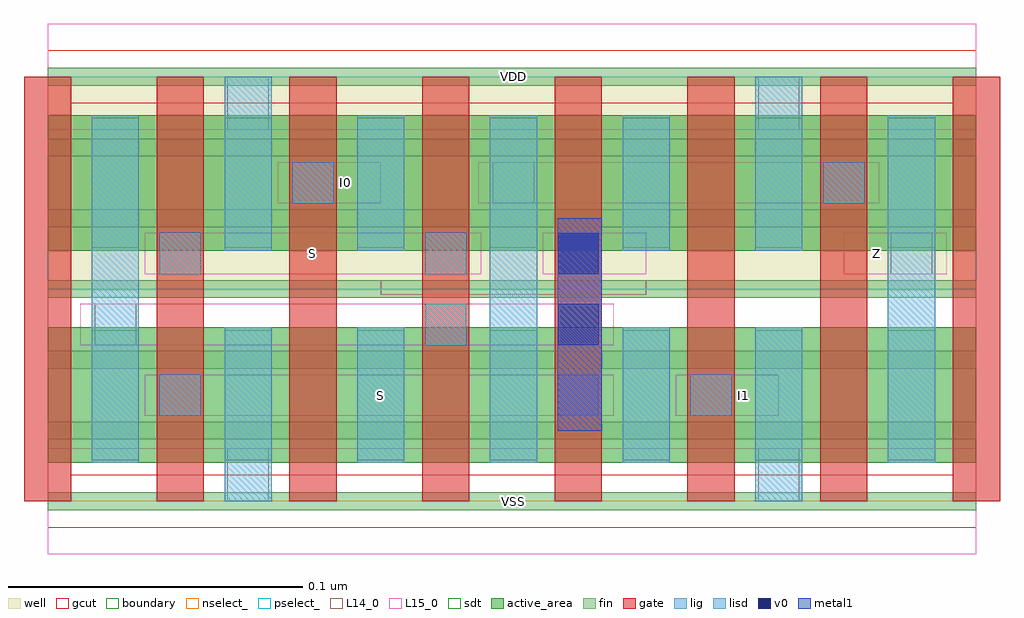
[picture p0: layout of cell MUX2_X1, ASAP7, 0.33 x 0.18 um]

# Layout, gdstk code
import gdstk
lib = gdstk.Library(unit=1e-6, precision=1e-09)
def R(c, l, rs):  # rectangles x0, y0, x1, y1
    for r in rs: c.add(gdstk.rectangle(r[:2], r[2:], *l))
def A(c, l, x, y, w, h, nx, ny, dx, dy):  # array of equal rectangles
    R(c, l, [(x+i*dx, y+j*dy, x+i*dx+w, y+j*dy+h) for i in range(nx) for j in range(ny)])
def P(c, l, *ps):  # polygons
    for p in ps: c.add(gdstk.Polygon(p, *l))
well = (1, 0)
fin = (2, 0)
gate = (7, 0)
gcut = (10, 0)
active_area = (11, 0)
nselect_ = (12, 0)
pselect_ = (13, 0)
L14_0 = (14, 0)
L15_0 = (15, 0)
lig = (16, 0)
lisd = (17, 0)
v0 = (18, 0)
metal1 = (19, 0)
sdt = (88, 0)
boundary = (100, 0)

mux2_x1 = lib.new_cell('MUX2_X1')
R(mux2_x1, well, [(0,0.072,0.315,0.144)])
A(mux2_x1, fin, 0, -0.003, 0.315, 0.006, 1, 7, 0, 0.024)
A(mux2_x1, gate, -0.008, 0, 0.016, 0.144, 8, 1, 0.045, 0)
R(mux2_x1, gcut, [(0.113,0.07,0.203,0.075)])
P(mux2_x1, gcut, [(0,-0.009),(0,0),(-0.008,0),(-0.008,0.135),(0.008,0.135),(0.008,0.009),(0.307,0.009),(0.307,0.135),(-0.008,0.135),(-0.008,0.144),(0,0.144),(0,0.153),(0.315,0.153),(0.315,0.144),(0.323,0.144),(0.323,0),(0.315,0),(0.315,-0.009)])
R(mux2_x1, active_area, [(0,0.013,0.315,0.059), (0,0.085,0.315,0.131)])
R(mux2_x1, nselect_, [(0,0,0.315,0.072)])
R(mux2_x1, pselect_, [(0,0.072,0.315,0.144)])
R(mux2_x1, L14_0, [(0.061,0,0.075,0.018), (0.241,0,0.255,0.018), (0.038,0.029,0.052,0.043), (0.173,0.029,0.187,0.043), (0.218,0.029,0.232,0.043), (0.016,0.053,0.03,0.067), (0.128,0.053,0.142,0.067), (0.038,0.077,0.052,0.091), (0.128,0.077,0.142,0.091), (0.173,0.077,0.187,0.091), (0.286,0.077,0.3,0.091), (0.083,0.101,0.097,0.115), (0.151,0.101,0.165,0.115), (0.263,0.101,0.277,0.115), (0.061,0.126,0.075,0.144), (0.241,0.126,0.255,0.144)])
R(mux2_x1, L15_0, [(0,-0.018,0.315,0.018), (0.033,0.029,0.192,0.043), (0.213,0.029,0.248,0.043), (0.011,0.053,0.192,0.067), (0.033,0.077,0.147,0.091), (0.168,0.077,0.203,0.091), (0.27,0.077,0.305,0.091), (0.078,0.101,0.113,0.115), (0.146,0.101,0.282,0.115), (0,0.126,0.315,0.162)])
R(mux2_x1, lig, [(0.038,0.029,0.052,0.043), (0.173,0.029,0.187,0.043), (0.218,0.029,0.232,0.043), (0.128,0.053,0.142,0.067), (0.038,0.077,0.052,0.091), (0.128,0.077,0.142,0.091), (0.173,0.077,0.187,0.091), (0.083,0.101,0.097,0.115), (0.263,0.101,0.277,0.115)])
A(mux2_x1, lisd, 0.015, 0.013, 0.016, 0.118, 3, 1, 0.135, 0)
R(mux2_x1, lisd, [(0.06,0,0.076,0.059), (0.24,0,0.256,0.059), (0.105,0.013,0.121,0.059), (0.195,0.013,0.211,0.059), (0.06,0.085,0.076,0.144), (0.105,0.085,0.121,0.131), (0.195,0.085,0.211,0.131), (0.24,0.085,0.256,0.144)])
R(mux2_x1, v0, [(0.173,0.053,0.187,0.067), (0.173,0.077,0.187,0.091)])
R(mux2_x1, metal1, [(0.173,0.024,0.188,0.096)])
A(mux2_x1, sdt, 0.015, 0.014, 0.016, 0.044, 7, 2, 0.045, 0.072)
R(mux2_x1, boundary, [(0,0,0.315,0.144)])
mux2_x1.add(gdstk.Label('I1', (0.236,0.036), layer=15, texttype=251))
mux2_x1.add(gdstk.Label('VSS', (0.158,0), layer=15, texttype=251))
mux2_x1.add(gdstk.Label('VDD', (0.158,0.144), layer=15, texttype=251))
mux2_x1.add(gdstk.Label('I0', (0.101,0.108), layer=15, texttype=251))
mux2_x1.add(gdstk.Label('VSS', (0.158,0), layer=15, texttype=251))
mux2_x1.add(gdstk.Label('VDD', (0.158,0.144), layer=15, texttype=251))
mux2_x1.add(gdstk.Label('S', (0.09,0.084), layer=15, texttype=251))
mux2_x1.add(gdstk.Label('S', (0.113,0.036), layer=15, texttype=251))
mux2_x1.add(gdstk.Label('VSS', (0.158,0), layer=15, texttype=251))
mux2_x1.add(gdstk.Label('VDD', (0.158,0.144), layer=15, texttype=251))
mux2_x1.add(gdstk.Label('Z', (0.281,0.084), layer=15, texttype=251))
mux2_x1.add(gdstk.Label('VSS', (0.158,0), layer=15, texttype=251))
mux2_x1.add(gdstk.Label('VDD', (0.158,0.144), layer=15, texttype=251))
mux2_x1.add(gdstk.Label('VSS', (0.158,0), layer=3, texttype=251))
mux2_x1.add(gdstk.Label('VSS', (0.158,0), layer=3, texttype=251))
mux2_x1.add(gdstk.Label('VSS', (0.158,0), layer=3, texttype=251))
mux2_x1.add(gdstk.Label('VSS', (0.158,0), layer=3, texttype=251))
mux2_x1.add(gdstk.Label('VDD', (0.158,0.144), layer=1, texttype=251))
mux2_x1.add(gdstk.Label('VDD', (0.158,0.144), layer=1, texttype=251))
mux2_x1.add(gdstk.Label('VDD', (0.158,0.144), layer=1, texttype=251))
mux2_x1.add(gdstk.Label('VDD', (0.158,0.144), layer=1, texttype=251))

lib.write_gds('MUX2_X1.gds')
